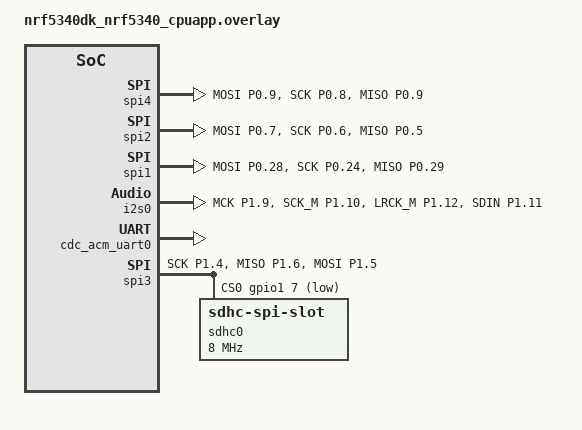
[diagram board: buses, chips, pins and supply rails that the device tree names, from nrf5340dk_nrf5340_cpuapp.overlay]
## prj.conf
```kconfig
#
# Copyright (c) 2019 Nordic Semiconductor ASA
#
# SPDX-License-Identifier: LicenseRef-BSD-5-Clause-Nordic
#
# General config
CONFIG_ASSERT=y

# CONFIG_USE_SEGGER_RTT=y

# Logging
CONFIG_UART_CONSOLE=y
CONFIG_SERIAL=y

# Stacks and heaps
CONFIG_MAIN_STACK_SIZE= 2048
CONFIG_HEAP_MEM_POOL_SIZE= 2048
CONFIG_SYSTEM_WORKQUEUE_STACK_SIZE=2048

CONFIG_SPI=y

# I2S
CONFIG_I2S=y

# Rebooot
CONFIG_REBOOT=n
CONFIG_RESET_ON_FATAL_ERROR=n

# printk float
CONFIG_FPU=y

# debug
CONFIG_DEBUG=y

# usb uart
CONFIG_STDOUT_CONSOLE=y
CONFIG_LOG=n
CONFIG_SERIAL=y
CONFIG_UART_INTERRUPT_DRIVEN=y
CONFIG_UART_LINE_CTRL=y

CONFIG_UART_INTERRUPT_DRIVEN=y
CONFIG_UART_LINE_CTRL=y

CONFIG_USB_DEVICE_STACK=y
CONFIG_USB_DEVICE_PRODUCT="bat_tag"
CONFIG_USB_DEVICE_PID=0x0002
CONFIG_USB_COMPOSITE_DEVICE=y
CONFIG_USB_CDC_ACM_RINGBUF_SIZE=512
CONFIG_USB_DEVICE_INITIALIZE_AT_BOOT=n

# SD card
CONFIG_DISK_DRIVER_SDMMC=y
CONFIG_FILE_SYSTEM=y
CONFIG_FAT_FILESYSTEM_ELM=y

############################# bluetooth

CONFIG_BT=y
CONFIG_BT_PERIPHERAL=y
CONFIG_BT_DEVICE_NAME="Bat_tag"
CONFIG_BT_DEVICE_APPEARANCE=833
CONFIG_BT_MAX_CONN=1
CONFIG_BT_MAX_PAIRED=1

# Enable the NUS service
CONFIG_BT_NUS=y

# Enable bonding
CONFIG_BT_SETTINGS=y
CONFIG_FLASH=y
CONFIG_FLASH_PAGE_LAYOUT=y
CONFIG_FLASH_MAP=y
CONFIG_NVS=y
CONFIG_SETTINGS=y

# Enable DK LED and Buttons library
CONFIG_DK_LIBRARY=y

# secure
CONFIG_BT_SMP=y

#
# Try to increase the MTU (max transmission unit) beyond the default 20.
# https://devzone.nordicsemi.com/f/nordic-q-a/84487/ble-uart-nus-altering-mtu-and-faster-interval
#
CONFIG_BT_BUF_ACL_RX_SIZE=251
CONFIG_BT_ATT_PREPARE_COUNT=2
#CONFIG_BT_CONN_TX_MAX=10
CONFIG_BT_L2CAP_TX_BUF_COUNT=10
CONFIG_BT_L2CAP_TX_MTU=247
#CONFIG_BT_L2CAP_DYNAMIC_CHANNEL=y
CONFIG_BT_CTLR_RX_BUFFERS=2
CONFIG_BT_BUF_ACL_TX_COUNT=10
CONFIG_BT_BUF_ACL_TX_SIZE=251
CONFIG_BT_CTLR_DATA_LENGTH_MAX=251

# This gets us direct access to the lower level GATT functions.
CONFIG_BT_GATT_CLIENT=y
CONFIG_BT_USER_PHY_UPDATE=y
CONFIG_BT_USER_DATA_LEN_UPDATE=y


# Use 2Mbps radio speed.
CONFIG_BT_CTLR_PHY_2M=y
CONFIG_MAIN_STACK_SIZE= 2048


CONFIG_REGULATOR=y

CONFIG_REBOOT=y
```

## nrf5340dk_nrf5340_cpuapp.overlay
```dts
/*
Only one of the following peripherals can be enabled: SPI1, SPIM1, SPIS1, TWI1, TWIM1, TWIS1, UARTE1
if instance x (where 0<=x<=3) is used by one of the peripherals, none of the other peripherals can use the same instance.
https://devzone.nordicsemi.com/f/nordic-q-a/62899/nrf9160---only-one-of-the-following-peripherals-can-be-enabled-spi1-uarte1-why
*/

// NanEyeC camera uses spi0
// Up to 32 Mbps SPI when using dedicated pins
// p0.08-p0.12 on nrf5340DK are for 32MHz high-speed SPIM4
// p0.04, p0.05, p0.11, p0.12 on BT40 are for high speed SPI
spi_dev4: &spi4 {
	status = "okay";
	cs-gpios = <&gpio0 4 GPIO_ACTIVE_LOW>;
	compatible = "nordic,nrf-spim";
	pinctrl-0 = <&spi4_default>;
	pinctrl-1 = <&spi4_sleep>;
	pinctrl-names = "default", "sleep";
	// clock-frequency = <8000000>; 
};

// ICM42688 
spi_dev2: &spi2 {
	status = "okay";
	cs-gpios = <&gpio0 26 GPIO_ACTIVE_LOW>;
	compatible = "nordic,nrf-spim";
	pinctrl-0 = <&spi2_default>;
	pinctrl-1 = <&spi2_sleep>;
	pinctrl-names = "default", "sleep";
	// clock-frequency = <8000000>; 
};


// second ICM42688 with SPI
// We should try to use all pins on gpio0 (or maybe all pins on gpio1); Define pins on both can lead to noisy and delayed IMU signals
spi_dev1: &spi1 {
	status = "okay";
	cs-gpios = <&gpio0 23 GPIO_ACTIVE_LOW>;
	compatible = "nordic,nrf-spim";
	pinctrl-0 = <&spi1_default>;
	pinctrl-1 = <&spi1_sleep>;
	pinctrl-names = "default", "sleep";
	// clock-frequency = <8000000>; 
};



///////// I2S interface
i2s_rx_dev: &i2s0 {
	status = "okay";
	pinctrl-0 = <&i2s0_default>;
	pinctrl-names = "default";
	// clock-source = "ACLK";
};

&pinctrl {

	spi1_default: spi1_default{
		group1 {
			psels = <NRF_PSEL(SPIM_MOSI, 0, 28)>,
				<NRF_PSEL(SPIM_SCK, 0, 24)>,
				<NRF_PSEL(SPIM_MISO, 0, 29)>;
		};
	};

	spi1_sleep: spi1_sleep{
		group1 {
			psels = <NRF_PSEL(SPIM_MOSI, 0, 28)>,
				<NRF_PSEL(SPIM_SCK, 0, 24)>,
				<NRF_PSEL(SPIM_MISO, 0, 29)>;
			low-power-enable;
		};
	};


	spi2_default: spi2_default{
		group1 {
			psels = <NRF_PSEL(SPIM_MOSI, 0, 7)>,
				<NRF_PSEL(SPIM_SCK, 0, 6)>,
				<NRF_PSEL(SPIM_MISO, 0, 5)>;
		};
	};

	spi2_sleep: spi2_sleep{
		group1 {
			psels = <NRF_PSEL(SPIM_MOSI, 0, 7)>,
				<NRF_PSEL(SPIM_SCK, 0, 6)>,
				<NRF_PSEL(SPIM_MISO, 0, 5)>;
			low-power-enable;
		};
	};


	// We now use I2S interface instead of PDM to get bit stream
	i2s0_default: i2s0_default{
		group1{
			// need to define MCK, LRCK_M, even though we don't wire them with PDM mic
			// otherwise I2S driver will not work
			psels = <NRF_PSEL(I2S_MCK,1,9)>,
					<NRF_PSEL(I2S_SCK_M,1,10)>,
					<NRF_PSEL(I2S_LRCK_M,1,12)>,
					<NRF_PSEL(I2S_SDIN,1,11)>;				
		};
	};

	spi3_default: spi3_default{
		group1 {
			psels = <NRF_PSEL(SPIM_SCK, 1, 4)>,
					<NRF_PSEL(SPIM_MISO, 1, 6)>,
					<NRF_PSEL(SPIM_MOSI, 1, 5)>;
		};
	};

	spi4_default: spi4_default{
		group1 {
			psels = <NRF_PSEL(SPIM_MOSI, 0, 9)>,
				<NRF_PSEL(SPIM_SCK, 0, 8)>,
				<NRF_PSEL(SPIM_MISO, 0, 9)>;
		};
	};

	spi4_sleep: spi4_sleep{
		group1 {
			psels = <NRF_PSEL(SPIM_MOSI, 0, 9)>,
				<NRF_PSEL(SPIM_SCK, 0, 8)>,
				<NRF_PSEL(SPIM_MISO, 0, 9)>;
			low-power-enable;
		};
	};
};

// UART
&zephyr_udc0 {
	cdc_acm_uart0: cdc_acm_uart0 {
		compatible = "zephyr,cdc-acm-uart";
	};
};


// SD card with SPI interface
&spi3 {
	status = "okay";
	cs-gpios = <&gpio1 7 GPIO_ACTIVE_LOW>;
	pinctrl-0 = <&spi3_default>;
	pinctrl-names = "default";
	sdhc0: sdhc@0 {
			compatible = "zephyr,sdhc-spi-slot";
			reg = <0>;
			status = "okay";
			mmc {
				compatible = "zephyr,sdmmc-disk";
				status = "okay";
			};
			spi-max-frequency = <8000000>;
	};
};
```

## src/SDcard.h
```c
/*SDcard*/

#ifndef SDCARD_H
#define SDCARD_H 1
#endif

#include <stdio.h>
#include <string.h>
#include <stdlib.h>
#include <zephyr/device.h>
#include <zephyr/storage/disk_access.h>
#include <zephyr/kernel.h>
#include <zephyr/logging/log.h>
#include <zephyr/usb/usb_device.h>
#include <zephyr/usb/usbd.h>
#include <zephyr/usb/class/usbd_msc.h>
#include <zephyr/fs/fs.h>
#include <stdio.h>

// we use FATfs with SD card
#if CONFIG_FAT_FILESYSTEM_ELM
#include <ff.h>
#endif

#define DISK_DRIVE_NAME "SD"
#define DISK_MOUNT_PT "/"DISK_DRIVE_NAME":"
char file_name[16];
static const char *disk_mount_pt = DISK_MOUNT_PT;

static FATFS fat_fs;
static struct fs_mount_t mp = {
	.type = FS_FATFS,
	.fs_data = &fat_fs,
};

static struct fs_mount_t fs_mnt;

static int mount_app_fs(struct fs_mount_t *mnt)
{
	int rc;

	mnt->type = FS_FATFS;
	mnt->fs_data = &fat_fs;

	if (IS_ENABLED(CONFIG_DISK_DRIVER_SDMMC)) {
		mnt->mnt_point = "/SD:";
	} else {
		mnt->mnt_point = "/NAND:";
	}

	rc = fs_mount(mnt);

	return rc;
}

static void setup_disk(void)
{
	struct fs_mount_t *mp = &fs_mnt;
	struct fs_dir_t dir;
	struct fs_statvfs sbuf;
	int rc;

	fs_dir_t_init(&dir);

		if (!IS_ENABLED(CONFIG_FILE_SYSTEM_LITTLEFS) &&
	    !IS_ENABLED(CONFIG_FAT_FILESYSTEM_ELM)) {
		printk("No file system selected\n");
		return;
	}

	rc = mount_app_fs(mp);
	if (rc < 0) {
		printk("Failed to mount filesystem\n");
		return;
	}

	/* Allow log messages to flush to avoid interleaved output */
	k_sleep(K_MSEC(50));

	printk("Mount %s: %d\n", fs_mnt.mnt_point, rc);

	rc = fs_statvfs(mp->mnt_point, &sbuf);
	if (rc < 0) {
		printk("FAIL: statvfs: %d\n", rc);
		return;
	}

	printk("%s: bsize = %lu ; frsize = %lu ;"
	       " blocks = %lu ; bfree = %lu\n",
	       mp->mnt_point,
	       sbuf.f_bsize, sbuf.f_frsize,
	       sbuf.f_blocks, sbuf.f_bfree);

	rc = fs_opendir(&dir, mp->mnt_point);
	printk("%s opendir: %d\n", mp->mnt_point, rc);

	if (rc < 0) {
		printk("Failed to open directory\n");
	}

	while (rc >= 0) {
		struct fs_dirent ent = { 0 };

		rc = fs_readdir(&dir, &ent);
		if (rc < 0) {
			printk("Failed to read directory entries\n");
			break;
		}
		if (ent.name[0] == 0) {
			printk("End of files\n");
			break;
		}
		printk("  %c %u %s\n",
		       (ent.type == FS_DIR_ENTRY_FILE) ? 'F' : 'D',
		       ent.size,
		       ent.name);
	}

	(void)fs_closedir(&dir);

	return;
}

/* List dir entry by path
 *
 * @param path Absolute path to list
 *
 * @return Negative errno code on error, number of listed entries on
 *         success.
 */
static int lsdir(const char *path)
{
	int res;
	struct fs_dir_t dirp;
	static struct fs_dirent entry;
	int count = 0;

	fs_dir_t_init(&dirp);

	/* Verify fs_opendir() */
	res = fs_opendir(&dirp, path);
	if (res) {
		printk("Error opening dir %s [%d]\n", path, res);
		return res;
	}

	printk("\nListing dir %s ...\n", path);
	for (;;) {
		/* Verify fs_readdir() */
		res = fs_readdir(&dirp, &entry);

		/* entry.name[0] == 0 means end-of-dir */
		if (res || entry.name[0] == 0) {
			break;
		}

		if (entry.type == FS_DIR_ENTRY_DIR) {
			printk("[DIR ] %s\n", entry.name);
		} else {
			printk("[FILE] %s (size = %zu)\n",
				entry.name, entry.size);
		}
		count++;
	}

	/* Verify fs_closedir() */
	fs_closedir(&dirp);
	if (res == 0) {
		res = count;
	}

	return res;
}
```

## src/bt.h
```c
#ifndef BT_H
#define BT_H 1
#endif

#include "icm42688.h"
#include "pdm_microphone.h"
#include "NanEyeC.h"

#include <stdio.h>
#include <stdarg.h>
#include <string.h>
#include <stdlib.h>
#include <zephyr/device.h>
#include <zephyr/kernel.h>

#include <nrfx_log.h>
#include <zephyr/logging/log.h>

#include <zephyr/bluetooth/bluetooth.h>
#include <zephyr/bluetooth/uuid.h>
#include <zephyr/bluetooth/gatt.h>
#include <zephyr/bluetooth/hci.h>
#include <bluetooth/services/nus.h>

#include <zephyr/settings/settings.h>

#include <dk_buttons_and_leds.h>



#define STACKSIZE 1024 // Stack size used in each of the two threads
#define PRIORITY 7

#define DEVICE_NAME CONFIG_BT_DEVICE_NAME
#define DEVICE_NAME_LEN	(sizeof(DEVICE_NAME) - 1)

/// LED
#define RUN_STATUS_LED DK_LED1
#define RUN_LED_BLINK_INTERVAL 1000

#define CON_STATUS_LED DK_LED2

/// BUTTON
#define KEY_PASSKEY_ACCEPT DK_BTN1_MSK
#define KEY_PASSKEY_REJECT DK_BTN2_MSK

/// bt buffer
#define BT_BUF_SIZE 40 // Size of the payload buffer in each RX and TX FIFO element



static K_SEM_DEFINE(ble_init_ok, 0, 1);

static struct bt_conn *current_conn;
static struct bt_conn *auth_conn;


static const struct bt_data ad[] = {
	BT_DATA_BYTES(BT_DATA_FLAGS, (BT_LE_AD_GENERAL | BT_LE_AD_NO_BREDR)),
	BT_DATA(BT_DATA_NAME_COMPLETE, DEVICE_NAME, DEVICE_NAME_LEN),
};

static const struct bt_data sd[] = {
	BT_DATA_BYTES(BT_DATA_UUID128_ALL, BT_UUID_NUS_VAL),
};

//
// Callback for MTU exchange, for updating max data length. The MTU must be
// negotiated between the peripheral and central by sending packets back and
// forth (which takes time), and this function gets called after that
// negotiation process completes.
//
static void exchange_func(struct bt_conn *conn, uint8_t att_err,
			  struct bt_gatt_exchange_params *params)
{
	printk("MTU exchange %s\n", att_err == 0 ? "successful" : "failed");

	printk("   NEW Max transmission unit (#chars): %d  (%d)\n",
		bt_nus_get_mtu(conn), bt_gatt_get_mtu(conn));
}

static void connected(struct bt_conn *conn, uint8_t err)
{
	char addr[BT_ADDR_LE_STR_LEN];

	if (err) {
		printk("Connection failed (err %u)\n", err);
		return;
	}

	bt_addr_le_to_str(bt_conn_get_dst(conn), addr, sizeof(addr));
	printk("Connected %s\n", addr);

	// MUST be static, since it must be available after the function exits.
	static struct bt_gatt_exchange_params exchange_params = {.func = exchange_func};
	err = bt_gatt_exchange_mtu(conn, &exchange_params);
	printk("exchange_mtu err: %d\n", err);

	printk("Connected!! Max transmission unit (#chars): %d  (%d)\n",
		bt_nus_get_mtu(conn), bt_gatt_get_mtu(conn));

	// current_conn = bt_conn_ref(conn);
	current_conn = conn;

	dk_set_led_on(CON_STATUS_LED);
}

static void disconnected(struct bt_conn *conn, uint8_t reason)
{
	char addr[BT_ADDR_LE_STR_LEN];

	bt_addr_le_to_str(bt_conn_get_dst(conn), addr, sizeof(addr));

	printk("Disconnected: %s (reason %u)\n", addr, reason);

	if (auth_conn) {
		// bt_conn_unref(auth_conn);
		auth_conn = NULL;
	}

	if (current_conn) {
		// bt_conn_unref(current_conn);
		current_conn = NULL;
		dk_set_led_off(CON_STATUS_LED);
	}
}

static void security_changed(struct bt_conn *conn, bt_security_t level,
			     enum bt_security_err err)
{
	char addr[BT_ADDR_LE_STR_LEN];

	bt_addr_le_to_str(bt_conn_get_dst(conn), addr, sizeof(addr));

	if (!err) {
		printk("Security changed: %s level %u\n", addr, level);
	} else {
		printk("Security failed: %s level %u err %d\n", addr,
			level, err);
	}
}


BT_CONN_CB_DEFINE(conn_callbacks) = {
	.connected    = connected,
	.disconnected = disconnected
	// .security_changed = security_changed,
};

static void auth_passkey_display(struct bt_conn *conn, unsigned int passkey)
{
	char addr[BT_ADDR_LE_STR_LEN];

	bt_addr_le_to_str(bt_conn_get_dst(conn), addr, sizeof(addr));

	printk("Passkey for %s: %06u\n", addr, passkey);
}

static void auth_passkey_confirm(struct bt_conn *conn, unsigned int passkey)
{
	char addr[BT_ADDR_LE_STR_LEN];

	auth_conn = conn;
	// auth_conn = bt_conn_ref(conn);

	bt_addr_le_to_str(bt_conn_get_dst(conn), addr, sizeof(addr));

	printk("Passkey for %s: %06u\n", addr, passkey);
	printk("Press Button 1 to confirm, Button 2 to reject.\n");
}


static void auth_cancel(struct bt_conn *conn)
{
	char addr[BT_ADDR_LE_STR_LEN];

	bt_addr_le_to_str(bt_conn_get_dst(conn), addr, sizeof(addr));

	printk("Pairing cancelled: %s\n", addr);
}


static void pairing_complete(struct bt_conn *conn, bool bonded)
{
	char addr[BT_ADDR_LE_STR_LEN];

	bt_addr_le_to_str(bt_conn_get_dst(conn), addr, sizeof(addr));

	printk("Pairing completed: %s, bonded: %d\n", addr, bonded);
}


static void pairing_failed(struct bt_conn *conn, enum bt_security_err reason)
{
	char addr[BT_ADDR_LE_STR_LEN];

	bt_addr_le_to_str(bt_conn_get_dst(conn), addr, sizeof(addr));

	printk("Pairing failed conn: %s, reason %d\n", addr, reason);
}


static struct bt_conn_auth_cb conn_auth_callbacks = {
	.passkey_display = auth_passkey_display,
	.passkey_confirm = auth_passkey_confirm,
	.cancel = auth_cancel,
};

static struct bt_conn_auth_info_cb conn_auth_info_callbacks = {
	.pairing_complete = pairing_complete,
	.pairing_failed = pairing_failed
};

///////////////////////// nus_callback
// This is apparently not in the C library so we make a simple one here. Find
// first "sep"erator character in the string, and put a 0 there, and return
// first part of string before the sep character.
char *strtok(char *str, char sep)
{
	char *inc;

	// Search for sep character in string.
	for(inc=str; *inc && *inc!=sep; ++inc)
	   ;
	
	*inc = 0;    // Terminate string at sep character.
	return str;  // Return beginning of string.
}


char spbuf[100];
void BLE_printf(char const *Format, ...)
{
  va_list ap;
  va_start(ap, Format);
  int len = vsnprintf(spbuf, sizeof(spbuf), Format, ap);
  va_end(ap);
  bt_nus_send(NULL, spbuf, len); // Send string across BLE. NULL sends to ALL connections.
}

// If wanted, can interpret sent strings as "commands", and perform some task.
#define STR_MAX 300
char cmdstr[STR_MAX+1];

// trial_start to start a recording trial
static bool trial_start = false;

int NReceived = 0;
static void bt_receive_cb(struct bt_conn *conn, const uint8_t *const data,
			  uint16_t len)
{
	int error;
	char addr[BT_ADDR_LE_STR_LEN] = {0};

	NReceived++;

	// printk ble address
	bt_addr_le_to_str(bt_conn_get_dst(conn), addr, ARRAY_SIZE(addr));
	printk("Received data from: %s\n", addr);

	// Copy BLE data bytes to a null-terminated string.
	if(len > STR_MAX) len = STR_MAX;
	memcpy(cmdstr, data, len);
	cmdstr[len] = 0;

	//printk("Got BLE UART data (%d bytes): %.*s\n", len, len, data);
	printk("Got BLE UART data (%d bytes): %s\n", len, cmdstr);

	// Can come up with any command scheme you want. Here, we take an initial
	// '*' to mean that we should look for a command, then we search for a
	// matching command name.
	if(cmdstr[0] == '*') {
		char *cmd = strtok(cmdstr+1, ' '); // Get the first word after *
		int cmdlen = strlen(cmd);
		char *args = cmdstr+cmdlen+2; // remainder of string, after command token and space.

		printk("Found command: '%s' (%d chars), and args '%s'\n", cmd, cmdlen, args);

		// If we recognize the command, do something with it.
		if(strcmp(cmd, "setp") == 0) {
			// get var name and value to set
			char *var = strtok(args, ' ');
			args = args+strlen(var)+1;
			char *value_str = strtok(args, ' ');

			// check legal 
			if (strcmp(var,"")==0 || strcmp(value_str,"")==0){
				printk("Invalid command\n");
				error = -1;
				return error;
			}

			int value = atoi(value_str);

			printk("%d\n",value);

			if (strcmp(var, "imu_fs") == 0) {
				if (value==1000) {rate_idx=6;}
				else if (value==200) {rate_idx=7;}
				else if (value==100) {rate_idx=8;}
				else if (value==500) {rate_idx=15;}
				else {
					printk("Invalid imu_fs value, set default value 1000 Hz\n");
					rate_idx=6;
				}
			}
			else if (strcmp(var, "mic_fs") == 0) {
				if (value==4000000) {i2s_mckfreq=I2S_CONFIG_MCKFREQ_MCKFREQ_32MDIV8;}
				else if (value==3200000) {i2s_mckfreq=I2S_CONFIG_MCKFREQ_MCKFREQ_32MDIV10;}
				else if (value==2000000) {i2s_mckfreq=I2S_CONFIG_MCKFREQ_MCKFREQ_32MDIV16;}
				else if (value==1600000) {i2s_mckfreq=I2S_CONFIG_MCKFREQ_MCKFREQ_32MDIV21;}
				else if (value==1000000) {i2s_mckfreq=I2S_CONFIG_MCKFREQ_MCKFREQ_32MDIV32;}
				else if (value== 800000) {i2s_mckfreq=I2S_CONFIG_MCKFREQ_MCKFREQ_32MDIV42;}
				else if (value== 500000) {i2s_mckfreq=I2S_CONFIG_MCKFREQ_MCKFREQ_32MDIV63;}
				else {
					printk("Invalid mic_fs value, set default value 1000000 Hz\n");
					i2s_mckfreq=I2S_CONFIG_MCKFREQ_MCKFREQ_32MDIV32;
				}
			}
			else if (strcmp(var, "zoom_mode") == 0) {
				if (value==0) {zoom_mode=0;}
				else if (value==1) {zoom_mode=1;}
				else if (value==-1) {zoom_mode=-1;}
				else if (value==2) {zoom_mode=2;}
				else if (value==-2) {zoom_mode=-2;}
				else if (value==-3) {zoom_mode=-3;}
				else {
					printk("Invalid zoom_mode value, set default value -3\n");
					zoom_mode=-3;
				}
			}
			else {
				printk("Invalid command\n");
				error = -1;
				return error;
			}

			printk("Successfully set %s\n",var);
		}
		else if (strcmp(cmd, "start") == 0) {
			// start recording
			trial_start = true;
			printk("Trial start\n");
		}
		else if (strcmp(cmd, "stop") == 0) {
			// stop recording
			trial_start = false;
			printk("Trial stop\n");
		}
		else {
			printk("Invalid command\n");
			error = -1;
			return error;
		}
	}

	k_msleep(100);
}

// Callback to count number of sent notifications.
int NSent = 0;
void bt_sent_cb(struct bt_conn *conn)
{
	++NSent;
}

static struct bt_nus_cb nus_cb = {
	.received = bt_receive_cb,
	.sent = bt_sent_cb,
};




// static void num_comp_reply(bool accept)
// {
// 	if (accept) {
// 		bt_conn_auth_passkey_confirm(auth_conn);
// 		printk("Numeric Match, conn %p\n", (void *)auth_conn);

// 	} else {
// 		bt_conn_auth_cancel(auth_conn);
// 		printk("Numeric Reject, conn %p\n", (void *)auth_conn);

// 		// bt_conn_unref(auth_conn);
// 		auth_conn = NULL;
// }
// 	}

	

// button0: true, button1: false
// void button_changed(uint32_t button_state, uint32_t has_changed)
// {
// 	uint32_t buttons = button_state & has_changed;

// 	if (auth_conn) {
// 		if (buttons & KEY_PASSKEY_ACCEPT) {
// 			num_comp_reply(true);
// 		}

// 		if (buttons & KEY_PASSKEY_REJECT) {
// 			num_comp_reply(false);
// 		}
// 	}
// }



// void led_show_error(void)
// {
// 	dk_set_leds_state(DK_ALL_LEDS_MSK, DK_NO_LEDS_MSK);

// 	while (true) {
// 		/* Spin for ever */
// 		k_sleep(K_MSEC(1000));
// 	}
// }
```

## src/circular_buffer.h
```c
#ifndef CIRBUF_H
#define CIRBUF_H 1
#endif

#include <stdio.h>
#include <string.h>
#include <stdlib.h>

#include <zephyr/device.h>
#include <zephyr/kernel.h>

#define N_circular_buf 2048

typedef struct {
    short *buf; // actuall capacity = N-1
    int write_idx; // idx to write into circular buf
    int read_idx; // idx to read out from circular buf
} circular_buf;

bool is_empty(circular_buf *buf) {
    if (buf->read_idx == buf->write_idx) {
        return true;
    }
    else {
        return false;
    }
}

bool is_full(circular_buf *buf) {
    if ((buf->write_idx + 1) % N_circular_buf == buf->read_idx) {
        return true;
    }
    else {
        return false;
    }
}

int buf_length(circular_buf *buf) {
    // NRF_GPIOTE->INTENCLR |= 0x00000080;
    int temp = (buf->write_idx - buf->read_idx + N_circular_buf) % N_circular_buf;
    // NRF_GPIOTE->INTENSET |= 0x00000080;
    return temp;
}

int write_in_buf(circular_buf *buf, short *value, int L) {
    // L should be sizeof(value)/sizeof(short)
    if (L + buf_length(buf) > N_circular_buf-1) {
        printk("circular_buf out of range, buf_length=%d \n", buf_length(buf));
        return -1;
    }
    
    for (int i = 0;i < L;i++) {
        buf->buf[buf->write_idx] = value[i];
        buf->write_idx = (buf->write_idx + 1) % N_circular_buf;
    }
    return 0;
}

int read_out_buf(circular_buf *buf, short *value, uint16_t *buf_l) {
    uint16_t L = (uint16_t)buf_length(buf);
    buf_l[0] = L;
    for (int i=0;i<L;i++) {
        value[i] = buf->buf[buf->read_idx];
        buf->read_idx = (buf->read_idx + 1) % N_circular_buf;
    }
    // if (L > 0) {
    //     printk("buf_length=%d\n, write_idx=%d, read_idx=%d\n",L, buf->write_idx, buf->read_idx);
    // }
    return 0;
}
```

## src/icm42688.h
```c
/*IMU: ICM42688*/

#include <stdio.h>
#include <string.h>
#include <stdlib.h>
#include <zephyr/device.h>
#include <zephyr/kernel.h>

#include <zephyr/drivers/spi.h>
#include <zephyr/drivers/gpio.h>



//register map
// Bank 0
#define ICM_INT_CONFIG     20
#define ICM_INT_SOURCE0    101
#define ICM_INT_CONFIG1    100

#define ICM_GYRO_CONFIG0   79
#define ICM_ACCEL_CONFIG0  80

#define ICM_ACCEL_DATA_X1  31
#define ICM_ACCEL_DATA_Y1  33
#define ICM_ACCEL_DATA_Z1  35
#define ICM_GYRO_DATA_X1   37
#define ICM_GYRO_DATA_Y1   39
#define ICM_GYRO_DATA_Z1   41

#define ICM_PWR_MGMT0      78

#define ICM_SELF_TEST_CONFIG  112
#define ICM_WHO_AM_I       117
#define ICM_REG_BANK_SEL   118

// Bank 1
#define ICM_SENSOR_CONFIG  3

#define ICM_XG_ST_DATA 95
#define ICM_YG_ST_DATA 96
#define ICM_ZG_ST_DATA 97

// Bank 2
#define ICM_XA_ST_DATA 59
#define ICM_YA_ST_DATA 60
#define ICM_ZA_ST_DATA 61



// full-scale range of accel and gyro sensors
const int ICM_AccelRange_idx = 3;   //choose 0=32G, 1=16g, 2=8g, 3=4g, 4=2g
const int  ICM_GyroRange_idx = 1;   //choose 0=2000dps, 1=1000dps, 2=500dps, 3=250dps, 4=125dps

// Return the gyro full-scale range, in Degrees per Second,
// for each of the range selection settings.
double ICM_GyroRangeVal_dps(int range_idx)
{
  switch (range_idx) {
    case 0: return 2000; break;
    case 1: return 1000; break;
    case 2: return  500; break;
    case 3: return  250; break;
    case 4: return  125; break;
    case 5: return   62.5; break;
    case 6: return  31.25; break;
    case 7: return  15.625; break;
    default: return 0; break;
  }
}

// Return the accelerometer full-scale range, in G,
// for each of the range selection settings.
// Note that the DATASHEET IS WRONG!!!
// The max range is 32G, NOT 16G!!!
//
double ICM_AccelRangeVal_G(int range_idx)
{
  switch(range_idx) {
//    case 0: return 16;   // MANUAL IS WRONG!!! Off by factor of 2.
//    case 1: return 8;
//    case 2: return 4;
//    case 3: return 2;

    case 0: return 32;     // Correct mapping.
    case 1: return 16;
    case 2: return 8;
    case 3: return 4;
    case 4: return 2;      // Yes, it does go down to +/-2G, and even lower for higher index.
    default: return 0;
  }
}

// Return DataRate 
double ICM_SampRate(int rate_idx)
{
  switch(rate_idx) {
    case 1: return 32000;
    case 2: return 16000;
    case 3: return  8000;
    case 4: return  4000;
    case 5: return  2000;
    case 6: return  1000;
    case 7: return   200;
    case 8: return   100;
    case 9: return    50;
    case 10: return   25;
    case 11: return   12.5;
    case 12: return    6.25;
    case 13: return    3.125;
    case 14: return    1.5625;
    case 15: return  500;
    default: return 0;
  }
}

// Convert integer ADC values to floating point scaled values.
double ICM_ADC2Float(double val) {
    return val / 32768.0;
}

/////////////////////////////////////////////////////////////////////////////
// config SPI

#define DELAY_SPI_CS_ACTIVE_US 2

#define ICM_SPI_WRITE 0b00000000
#define ICM_SPI_READ  0b10000000

static struct spi_cs_control spi_dev2_cs_control;
static struct spi_config spi_dev2_cfg={0};
const struct device *spi_dev2=DEVICE_DT_GET(DT_NODELABEL(spi_dev2));

int ICM_SPI_config() {
  spi_dev2_cfg.frequency = 8000000U; // only spi4 has 24000000
    spi_dev2_cfg.operation = SPI_WORD_SET(8);

    spi_dev2_cs_control.gpio.port = DEVICE_DT_GET(DT_GPIO_CTLR(DT_NODELABEL(spi_dev2),cs_gpios));
    if (!spi_dev2_cs_control.gpio.port) {
        printk("cannot find CS GPIO device\n");
	}
    spi_dev2_cs_control.gpio.pin = DT_GPIO_PIN(DT_NODELABEL(spi_dev2), cs_gpios);
	spi_dev2_cs_control.gpio.dt_flags = DT_GPIO_FLAGS(DT_NODELABEL(spi_dev2), cs_gpios);
	spi_dev2_cs_control.delay = DELAY_SPI_CS_ACTIVE_US;

	spi_dev2_cfg.cs = &spi_dev2_cs_control;

  return 0;
}

static int rate_idx = 7;

int ICM_setSamplingRate(int rate_idx) {
  uint8_t tx_buf[2] = {0};
    struct spi_buf spi_tx_buf = {
            .buf = tx_buf,
            .len = sizeof(tx_buf)
        };
    struct spi_buf_set tx_set = {
		.buffers = &spi_tx_buf,
		.count = 1
	};
    
    
    tx_buf[0] = ICM_SPI_WRITE | ICM_GYRO_CONFIG0;
    tx_buf[1] = rate_idx;
    if (spi_write(spi_dev2,&spi_dev2_cfg,&tx_set)) {
        printk("spi_write failed\n");
    }

    tx_buf[0] = ICM_SPI_WRITE | ICM_ACCEL_CONFIG0;
    tx_buf[1] = rate_idx;
    if (spi_write(spi_dev2,&spi_dev2_cfg,&tx_set)) {
        printk("spi_write failed\n");
    }
  return 0;
}

int ICM_enableSensor() {
  uint8_t tx_buf[2] = {0};
    struct spi_buf spi_tx_buf = {
            .buf = tx_buf,
            .len = sizeof(tx_buf)
        };
    struct spi_buf_set tx_set = {
		.buffers = &spi_tx_buf,
		.count = 1
	};
    
    
    tx_buf[0] = ICM_SPI_WRITE | ICM_PWR_MGMT0;
    // enable accel and gyro
    tx_buf[1] = 0b00001111;
    if (spi_write(spi_dev2,&spi_dev2_cfg,&tx_set)) {
        printk("spi_write failed\n");
    }
  return 0;
}

// 0-5: IMU data
// 6-7: sampling time
// 8: sampling count
short IMU_data[9] = {0};

int ICM_readSensor() {
  uint8_t addr_buf[1] = {0};
  struct spi_buf spi_addr_buf = {
            .buf = addr_buf,
            .len = sizeof(addr_buf)
        };
  struct spi_buf_set addr_set = {
		.buffers = &spi_addr_buf,
		.count = 1
	};

  uint8_t rx_buf[13] = {0};
  struct spi_buf spi_rx_buf = {
            .buf = rx_buf,
            .len = sizeof(rx_buf)
        };
  struct spi_buf_set rx_set = {
		.buffers = &spi_rx_buf,
		.count = 1
	};

    addr_buf[0] = ICM_SPI_READ | ICM_ACCEL_DATA_X1;
    if (spi_transceive(spi_dev2,&spi_dev2_cfg,&addr_set,&rx_set)) {
        printk("spi_transceive failed\n");
    }

    IMU_data[0] = (short)((rx_buf[1] << 8) | rx_buf[2]);
    IMU_data[1] = (short)((rx_buf[3] << 8) | rx_buf[4]);
    IMU_data[2] = (short)((rx_buf[5] << 8) | rx_buf[6]);
    IMU_data[3] = (short)((rx_buf[7] << 8) | rx_buf[8]);
    IMU_data[4] = (short)((rx_buf[9] << 8) | rx_buf[10]);
    IMU_data[5] = (short)((rx_buf[11] << 8) | rx_buf[12]);

    return 0;
}

static const struct device *GPIO_dev = DEVICE_DT_GET(DT_NODELABEL(gpio0));
static struct gpio_callback ICM_INT_cb;

// GPIO INT pin number
#define ICM_INT_pin   25

int ICM_enableINT() {
  // Enable INT output pin.

  
  uint8_t tx_buf[2] = {0};
    struct spi_buf spi_tx_buf = {
            .buf = tx_buf,
            .len = sizeof(tx_buf)
        };
    struct spi_buf_set tx_set = {
		.buffers = &spi_tx_buf,
		.count = 1
	};
    
  //ICM_INT_CONFIG
  // Bit 0 set 1: INT1-active high
  // Bit 1 set 1: INT1-push-pull
  // Bit 2 set 0: INT1 pulse
    tx_buf[0] = ICM_SPI_WRITE | ICM_INT_CONFIG;
    // 
    tx_buf[1] = 0b00000011;
    if (spi_write(spi_dev2,&spi_dev2_cfg,&tx_set)) {
        printk("ICM_INT_CONFIG failed\n");
    }

    //ICM_INT_CONFIG1
  // Bit 5 set 1: Disables de-assert duration. Required if ODR ≥ 4kHz
  // Bit 6 set 1:  Interrupt pulse duration is 8 μs. Required if ODR ≥ 4kHz,
    tx_buf[0] = ICM_SPI_WRITE | ICM_INT_CONFIG1;
    // 
    tx_buf[1] = 0b01100000;
    if (spi_write(spi_dev2,&spi_dev2_cfg,&tx_set)) {
        printk("ICM_INT_CONFIG1 failed\n");
    }

    //ICM_INT_SOURCE0
  // Bit 3 set 1:  UI data ready interrupt routed to INT1
    tx_buf[0] = ICM_SPI_WRITE | ICM_INT_SOURCE0;
    // 
    tx_buf[1] = 0b00001000;
    if (spi_write(spi_dev2,&spi_dev2_cfg,&tx_set)) {
        printk("ICM_INT_CONFIG0 failed\n");
    }

  // check register values
  uint8_t addr_buf[1] = {0};
    struct spi_buf spi_addr_buf = {
            .buf = addr_buf,
            .len = sizeof(addr_buf)
        };
    struct spi_buf_set addr_set = {
		.buffers = &spi_addr_buf,
		.count = 1
	};

    uint8_t rx_buf[3] = {0};
    struct spi_buf spi_rx_buf = {
            .buf = rx_buf,
            .len = sizeof(rx_buf)
        };
    struct spi_buf_set rx_set = {
		.buffers = &spi_rx_buf,
		.count = 1
	};

    addr_buf[0] = ICM_SPI_READ | ICM_INT_CONFIG1;
    if (spi_transceive(spi_dev2,&spi_dev2_cfg,&addr_set,&rx_set)) {
        printk("spi_transceive failed\n");
    }

    printk("ICM_INT_CONFIG1=0x%02x,ICM_INT_SOURCE0=0x%02x\n", rx_buf[1],rx_buf[2]);

    
  
  return 0;
}

///////////////////////////////////////////////////////////////////////////////////////
// config second SPI for second IMU

static struct spi_cs_control spi_dev1_cs_control;
static struct spi_config spi_dev1_cfg={0};
const struct device *spi_dev1=DEVICE_DT_GET(DT_NODELABEL(spi_dev1));

int H_ICM_SPI_config() {
  spi_dev1_cfg.frequency = 8000000U; // only spi4 has 24000000
    spi_dev1_cfg.operation = SPI_WORD_SET(8);

    spi_dev1_cs_control.gpio.port = DEVICE_DT_GET(DT_GPIO_CTLR(DT_NODELABEL(spi_dev1),cs_gpios));
    if (!spi_dev1_cs_control.gpio.port) {
        printk("cannot find CS GPIO device\n");
	}
    spi_dev1_cs_control.gpio.pin = DT_GPIO_PIN(DT_NODELABEL(spi_dev1), cs_gpios);
	spi_dev1_cs_control.gpio.dt_flags = DT_GPIO_FLAGS(DT_NODELABEL(spi_dev1), cs_gpios);
	spi_dev1_cs_control.delay = DELAY_SPI_CS_ACTIVE_US;

	spi_dev1_cfg.cs = &spi_dev1_cs_control;

  return 0;
}

int H_ICM_setSamplingRate(int rate_idx) {
  uint8_t tx_buf[2] = {0};
    struct spi_buf spi_tx_buf = {
            .buf = tx_buf,
            .len = sizeof(tx_buf)
        };
    struct spi_buf_set tx_set = {
		.buffers = &spi_tx_buf,
		.count = 1
	};
    
    
    tx_buf[0] = ICM_SPI_WRITE | ICM_GYRO_CONFIG0;
    tx_buf[1] = rate_idx;
    if (spi_write(spi_dev1,&spi_dev1_cfg,&tx_set)) {
        printk("spi_write failed\n");
    }

    tx_buf[0] = ICM_SPI_WRITE | ICM_ACCEL_CONFIG0;
    tx_buf[1] = rate_idx;
    if (spi_write(spi_dev1,&spi_dev1_cfg,&tx_set)) {
        printk("spi_write failed\n");
    }
  return 0;
}

int H_ICM_enableSensor() {
  uint8_t tx_buf[2] = {0};
    struct spi_buf spi_tx_buf = {
            .buf = tx_buf,
            .len = sizeof(tx_buf)
        };
    struct spi_buf_set tx_set = {
		.buffers = &spi_tx_buf,
		.count = 1
	};
    
    
    tx_buf[0] = ICM_SPI_WRITE | ICM_PWR_MGMT0;
    // enable accel and gyro
    tx_buf[1] = 0b00001111;
    if (spi_write(spi_dev1,&spi_dev1_cfg,&tx_set)) {
        printk("spi_write failed\n");
    }
  return 0;
}

short H_IMU_data[9] = {0};

int H_ICM_readSensor() {
  uint8_t addr_buf[1] = {0};
  struct spi_buf spi_addr_buf = {
            .buf = addr_buf,
            .len = sizeof(addr_buf)
        };
  struct spi_buf_set addr_set = {
		.buffers = &spi_addr_buf,
		.count = 1
	};

  uint8_t rx_buf[13] = {0};
  struct spi_buf spi_rx_buf = {
            .buf = rx_buf,
            .len = sizeof(rx_buf)
        };
  struct spi_buf_set rx_set = {
		.buffers = &spi_rx_buf,
		.count = 1
	};

    addr_buf[0] = ICM_SPI_READ | ICM_ACCEL_DATA_X1;
    if (spi_transceive(spi_dev1,&spi_dev1_cfg,&addr_set,&rx_set)) {
        printk("spi_transceive failed\n");
    }

    H_IMU_data[0] = (short)((rx_buf[1] << 8) | rx_buf[2]);
    H_IMU_data[1] = (short)((rx_buf[3] << 8) | rx_buf[4]);
    H_IMU_data[2] = (short)((rx_buf[5] << 8) | rx_buf[6]);
    H_IMU_data[3] = (short)((rx_buf[7] << 8) | rx_buf[8]);
    H_IMU_data[4] = (short)((rx_buf[9] << 8) | rx_buf[10]);
    H_IMU_data[5] = (short)((rx_buf[11] << 8) | rx_buf[12]);

    return 0;
}


// GPIO INT pin number
#define H_ICM_INT_pin   30

int H_ICM_enableINT() {
  // Enable INT output pin.

  
  uint8_t tx_buf[2] = {0};
    struct spi_buf spi_tx_buf = {
            .buf = tx_buf,
            .len = sizeof(tx_buf)
        };
    struct spi_buf_set tx_set = {
		.buffers = &spi_tx_buf,
		.count = 1
	};
    
  //ICM_INT_CONFIG
  // Bit 0 set 1: INT1-active high
  // Bit 1 set 1: INT1-push-pull
  // Bit 2 set 0: INT1 pulse
    tx_buf[0] = ICM_SPI_WRITE | ICM_INT_CONFIG;
    // 
    tx_buf[1] = 0b00000011;
    if (spi_write(spi_dev1,&spi_dev1_cfg,&tx_set)) {
        printk("ICM_INT_CONFIG failed\n");
    }

    //ICM_INT_CONFIG1
  // Bit 5 set 1: Disables de-assert duration. Required if ODR ≥ 4kHz
  // Bit 6 set 1:  Interrupt pulse duration is 8 μs. Required if ODR ≥ 4kHz,
    tx_buf[0] = ICM_SPI_WRITE | ICM_INT_CONFIG1;
    // 
    tx_buf[1] = 0b01100000;
    if (spi_write(spi_dev1,&spi_dev1_cfg,&tx_set)) {
        printk("ICM_INT_CONFIG1 failed\n");
    }

    //ICM_INT_SOURCE0
  // Bit 3 set 1:  UI data ready interrupt routed to INT1
    tx_buf[0] = ICM_SPI_WRITE | ICM_INT_SOURCE0;
    // 
    tx_buf[1] = 0b00001000;
    if (spi_write(spi_dev1,&spi_dev1_cfg,&tx_set)) {
        printk("ICM_INT_CONFIG0 failed\n");
    }

  // check register values
  uint8_t addr_buf[1] = {0};
    struct spi_buf spi_addr_buf = {
            .buf = addr_buf,
            .len = sizeof(addr_buf)
        };
    struct spi_buf_set addr_set = {
		.buffers = &spi_addr_buf,
		.count = 1
	};

    uint8_t rx_buf[3] = {0};
    struct spi_buf spi_rx_buf = {
            .buf = rx_buf,
            .len = sizeof(rx_buf)
        };
    struct spi_buf_set rx_set = {
		.buffers = &spi_rx_buf,
		.count = 1
	};

    addr_buf[0] = ICM_SPI_READ | ICM_INT_CONFIG1;
    if (spi_transceive(spi_dev1,&spi_dev1_cfg,&addr_set,&rx_set)) {
        printk("spi_transceive failed\n");
    }

    printk("ICM_INT_CONFIG1=0x%02x,ICM_INT_SOURCE0=0x%02x\n", rx_buf[1],rx_buf[2]);

    
  
  return 0;
}
```

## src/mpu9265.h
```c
/*IMU: MPU9265*/

#include <stdio.h>
#include <string.h>
#include <stdlib.h>

#include <zephyr/drivers/i2c.h>
#include <zephyr/device.h>
#include <zephyr/kernel.h>

// register map
#define MPU_ACCEL_OFFSET_X1 119
#define MPU_ACCEL_OFFSET_Y1 122
#define MPU_ACCEL_OFFSET_Z1 125
#define MPU_GYRO_OFFSET_X1  19
#define MPU_GYRO_OFFSET_Y1  21
#define MPU_GYRO_OFFSET_Z1  23

#define MPU_ACCEL_DATA_X1  59   // 0x1F
#define MPU_ACCEL_DATA_Y1  61
#define MPU_ACCEL_DATA_Z1  63
#define MPU_GYRO_DATA_X1   67
#define MPU_GYRO_DATA_Y1   69
#define MPU_GYRO_DATA_Z1   71

#define MPU_WHO_AM_I       117

// I2C address
#define MPU_ADDR 0x68

// full-scale range of accel and gyro sensors
const int MPU_AccelRange_idx = 3;   //choose 0=32G, 1=16g, 2=8g, 3=4g, 4=2g
const int  MPU_GyroRange_idx = 1;   //choose 0=2000dps, 1=1000dps, 2=500dps, 3=250dps, 4=125dps

// Usual DataRate
const int MPU_DataRate_idx = 15;

// Return the gyro full-scale range, in Degrees per Second,
// for each of the range selection settings.
double MPU_GyroRangeVal_dps(int range_idx)
{
  switch (range_idx) {
    case 0: return 2000; break;
    case 1: return 1000; break;
    case 2: return  500; break;
    case 3: return  250; break;
    case 4: return  125; break;
    case 5: return   62.5; break;
    case 6: return  31.25; break;
    case 7: return  15.625; break;
    default: return 0; break;
  }
}

// Return the accelerometer full-scale range, in G,
// for each of the range selection settings.
// Note that the DATASHEET IS WRONG!!!
// The max range is 32G, NOT 16G!!!
//
double MPU_AccelRangeVal_G(int range_idx)
{
  switch(range_idx) {
//    case 0: return 16;   // MANUAL IS WRONG!!! Off by factor of 2.
//    case 1: return 8;
//    case 2: return 4;
//    case 3: return 2;

    case 0: return 32;     // Correct mapping.
    case 1: return 16;
    case 2: return 8;
    case 3: return 4;
    case 4: return 2;      // Yes, it does go down to +/-2G, and even lower for higher index.
    default: return 0;
  }
}

// Return DataRate 
double MPU_SampRate(int rate_idx)
{
  switch(rate_idx) {
    case 1: return 32000;
    case 2: return 16000;
    case 3: return  8000;
    case 4: return  4000;
    case 5: return  2000;
    case 6: return  1000;
    case 7: return   200;
    case 8: return   100;
    case 9: return    50;
    case 10: return   25;
    case 11: return   12.5;
    case 12: return    6.25;
    case 13: return    3.125;
    case 14: return    1.5625;
    case 15: return  500;
    default: return 0;
  }
}

// Convert integer ADC values to floating point scaled values.
double MPU_ADC2Float(double val) {
    return val / 32768.0;
}



uint8_t MPU_ReadByte(const struct device *dev, int Reg_addr, int I2C_addr) {
    uint8_t data[1];
    uint8_t res[1];
    int err_write,err_read;
    struct i2c_msg msg;

    data[0] = Reg_addr;
    
    msg.buf = data;
	msg.len = 1;
	msg.flags = I2C_MSG_WRITE | I2C_MSG_STOP;

	err_write = i2c_transfer(dev, &msg, 1, I2C_addr);
    if (err_write != 0){
        printk("i2c_write failed\n");
        return 0;
        }

    msg.buf = res;
	msg.len = 1;
	msg.flags = I2C_MSG_READ | I2C_MSG_STOP;

    err_read = i2c_transfer(dev, &msg, 1, I2C_addr);
    if (err_read != 0){
        printk("i2c_read failed\n");
        return 0;
        }
    
    return res[0];
}

short MPU_ReadShort(const struct device *dev, int Reg_addr, int I2C_addr) {
    uint8_t data[1];
    uint8_t res[2];
    int err_write,err_read;
    struct i2c_msg msg;

    data[0] = Reg_addr;
    
    
    msg.buf = data;
	msg.len = 1;
	msg.flags = I2C_MSG_WRITE | I2C_MSG_STOP;

	err_write = i2c_transfer(dev, &msg, 1, I2C_addr);
    if (err_write != 0){
        printk("i2c_write failed\n");
        return 0;
        }

    msg.buf = res;
	msg.len = 2;
	msg.flags = I2C_MSG_READ | I2C_MSG_STOP;

    err_read = i2c_transfer(dev, &msg, 1, I2C_addr);
    if (err_read != 0){
        printk("i2c_read failed\n");
        return 0;
        }
    
    return (short)((res[0] << 8) | res[1]);
}

int MPU_ReadSensor(const struct device *dev, short *res, int I2C_addr){
    /* Read 14 bytes together, then get accel and gyro sensor data 
    */
    uint8_t data[1],buf[14];
    int err_write,err_read;
    struct i2c_msg msg;

    data[0] = MPU_ACCEL_DATA_X1;
    
    msg.buf = data;
	msg.len = 1;
	msg.flags = I2C_MSG_WRITE | I2C_MSG_STOP;

	err_write = i2c_transfer(dev, &msg, 1, I2C_addr);
    if (err_write != 0){
        printk("i2c_write failed\n");
        return 0;
        }

    msg.buf = buf;
	msg.len = 14;
	msg.flags = I2C_MSG_READ | I2C_MSG_STOP;

    err_read = i2c_transfer(dev, &msg, 1, I2C_addr);
    if (err_read != 0){
        printk("i2c_read failed\n");
        return 0;
        }
    
    res[0] = (short)((buf[0] << 8) | buf[1]);
    res[1] = (short)((buf[2] << 8) | buf[3]);
    res[2] = (short)((buf[4] << 8) | buf[5]);
    res[3] = (short)((buf[8] << 8) | buf[9]);
    res[4] = (short)((buf[10] << 8) | buf[11]);
    res[5] = (short)((buf[12] << 8) | buf[13]);

    return 1;
}
```

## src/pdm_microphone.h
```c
/*
Use I2S interface to transfer bit stream from PDM microphone
*/

#ifndef MIC_H
#define MIC_H 1
#endif

#include <stdio.h>
#include <string.h>
#include <stdlib.h>
#include <zephyr/device.h>
#include <zephyr/kernel.h>

#include <zephyr/drivers/i2s.h>
#include <nrfx_i2s.h>

#define I2S_MCK    (32+9) 
#define I2S_SCK    (32+10)
#define I2S_LRCK   (32+12)
#define I2S_SDIN   (32+11)

typedef void (*audio_processing_callback_t)(
  void* cb_data,
  unsigned int sample_count,
  float* tx,
  const float* rx
);
typedef void (*audio_dropout_callback_t)(void* cb_data);

typedef struct {
  audio_processing_callback_t processing_cb;
  audio_dropout_callback_t dropout_cb;
  void* cb_data;
} audio_callbacks_t;

static int i2s_mckfreq = I2S_CONFIG_MCKFREQ_MCKFREQ_32MDIV63;
```
